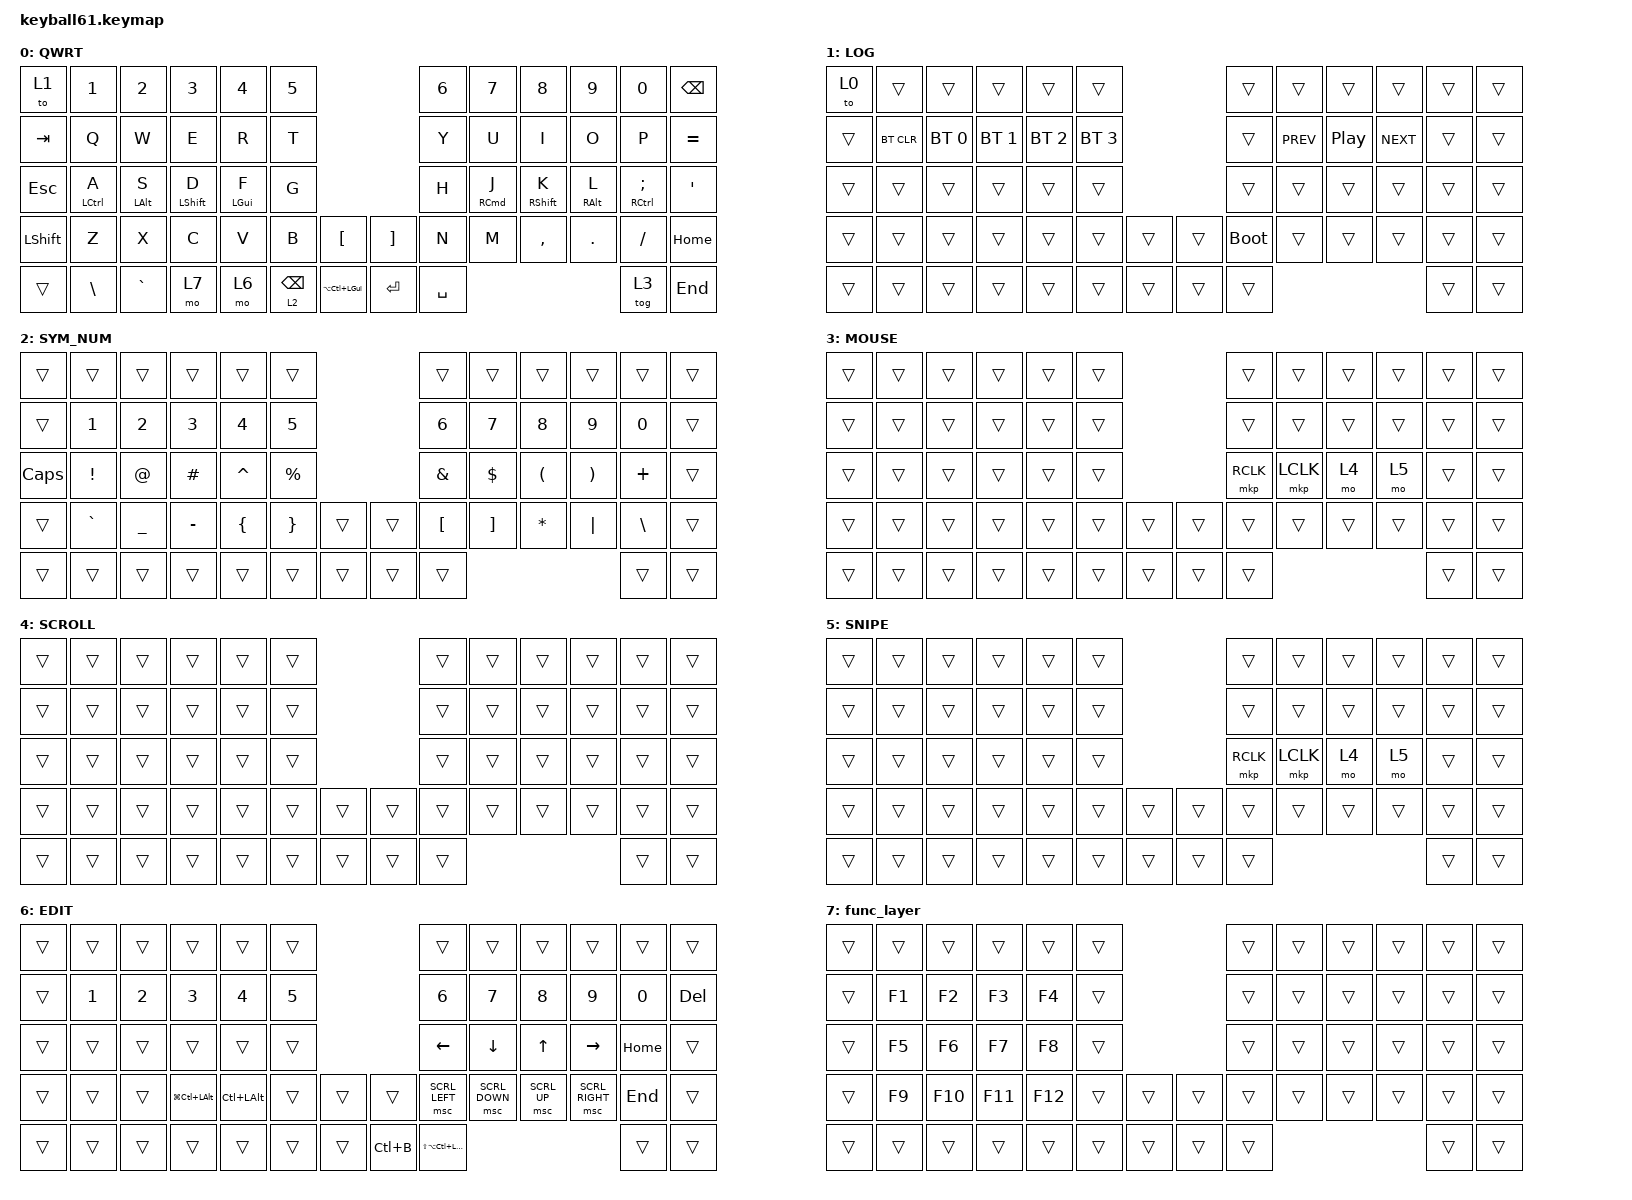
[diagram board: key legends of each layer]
#define DEFAULT 0
#define SYM     1
#define FUN     2
#define MOUSE   3 // Auto-Mouse Layer
#define SCROLL  4 // Motion Scroll Layer
#define SNIPE   5 // Snipe Mode Layer

#include <behaviors/mouse_keys.dtsi>
#include <dt-bindings/zmk/mouse.h>
#include <behaviors.dtsi>
#include <dt-bindings/zmk/bt.h>
#include <dt-bindings/zmk/keys.h>
#include <dt-bindings/zmk/pointing.h>

&lt {
    tapping-term-ms = <180>;
    flavor = "balanced";
    quick-tap-ms = <150>;
};

&mt {
    tapping-term-ms = <270>;
    flavor = "tap-unless-interrupted";
    quick-tap-ms = <150>;
};

&sl { release-after-ms = <2000>; };

/ {
    behaviors {
        right_mods: right_mods {
            compatible = "zmk,behavior-hold-tap";
            label = "RIGHT_MODS";
            bindings = <&kp>, <&kp>;

            #binding-cells = <2>;
            tapping-term-ms = <170>;
            quick-tap-ms = <150>;
            flavor = "balanced";
            require-prior-idle-ms = <180>;
        };

        left_mods: left_mods {
            compatible = "zmk,behavior-hold-tap";
            label = "LEFT_MODS";
            bindings = <&kp>, <&kp>;

            #binding-cells = <2>;
            tapping-term-ms = <170>;
            quick-tap-ms = <150>;
            flavor = "balanced";
            require-prior-idle-ms = <180>;
        };

        mt_cmd_left: mt_cmd_left {
            compatible = "zmk,behavior-hold-tap";
            label = "MT_CMD_LEFT";
            bindings = <&kp>, <&kp>;

            #binding-cells = <2>;
            tapping-term-ms = <160>;
            quick-tap-ms = <150>;
            flavor = "balanced";
        };

        mt_cmd_right: mt_cmd_right {
            compatible = "zmk,behavior-hold-tap";
            label = "MT_CMD_RIGHT";
            bindings = <&kp>, <&kp>;

            #binding-cells = <2>;
            tapping-term-ms = <185>;
            quick-tap-ms = <150>;
            flavor = "hold-preferred";
        };

        right_shift_mod: right_shift_mod {
            compatible = "zmk,behavior-hold-tap";
            label = "RIGHT_SHIFT_MOD";
            bindings = <&kp>, <&kp>;

            #binding-cells = <2>;
            tapping-term-ms = <170>;
            quick-tap-ms = <150>;
            flavor = "balanced";
        };

        left_shift_mod: left_shift_mod {
            compatible = "zmk,behavior-hold-tap";
            label = "NEW_BEHAVIOR";
            bindings = <&kp>, <&kp>;

            #binding-cells = <2>;
            tapping-term-ms = <170>;
            quick-tap-ms = <150>;
            flavor = "balanced";
        };

        aerospace_tap: aerospace_tap {
            compatible = "zmk,behavior-tap-dance";
            label = "AEROSPACE_TAP";
            #binding-cells = <0>;
            bindings = <&kp LA(LC(LGUI))>, <&kp LS(LA(LC(LGUI)))>;

            tapping-term-ms = <175>;
        };
    };

    combos {
        compatible = "zmk,combos";

        hyper {
            bindings = <&kp LC(LA(LG(LEFT_SHIFT)))>;
            key-positions = <56 57>;
            layers = <0>;
            timeout-ms = <100>;
        };
    };

    keymap {
        compatible = "zmk,keymap";

        DEFAULT_LAYER {
            label = "QWRT";
            bindings = <
&to 1           &kp N1                     &kp N2                 &kp N3                        &kp N4                   &kp N5                                                &kp N6     &kp NUMBER_7                   &kp NUMBER_8                    &kp NUMBER_9             &kp N0                               &kp BACKSPACE
&kp TAB         &kp Q                      &kp W                  &kp E                         &kp R                    &kp T                                                 &kp Y      &kp U                          &kp I                           &kp O                    &kp P                                &kp EQUAL
&kp ESCAPE      &left_mods LEFT_CONTROL A  &left_mods LEFT_ALT S  &left_shift_mod LEFT_SHIFT D  &mt_cmd_left LEFT_GUI F  &kp G                                                 &kp H      &mt_cmd_right RIGHT_COMMAND J  &right_shift_mod RIGHT_SHIFT K  &right_mods RIGHT_ALT L  &right_mods RIGHT_CONTROL SEMICOLON  &kp SQT
&kp LEFT_SHIFT  &kp Z                      &kp X                  &kp C                         &kp V                    &kp B            &kp LEFT_BRACKET  &kp RIGHT_BRACKET  &kp N      &kp M                          &kp COMMA                       &kp PERIOD               &kp SLASH                            &kp HOME
&trans          &kp BACKSLASH              &kp GRAVE              &mo 7                         &mo 6                    &lt 2 BACKSPACE  &kp LA(LC(LGUI))  &kp ENTER          &kp SPACE                                                                                          &tog 3                               &kp END
            >;
        };

        logistics_layer {
            label = "LOG";
            bindings = <
&to 0   &trans      &trans        &trans        &trans        &trans                        &trans       &trans      &trans            &trans      &trans  &trans
&trans  &bt BT_CLR  &bt BT_SEL 0  &bt BT_SEL 1  &bt BT_SEL 2  &bt BT_SEL 3                  &trans       &kp C_PREV  &kp C_PLAY_PAUSE  &kp C_NEXT  &trans  &trans
&trans  &trans      &trans        &trans        &trans        &trans                        &trans       &trans      &trans            &trans      &trans  &trans
&trans  &trans      &trans        &trans        &trans        &trans        &trans  &trans  &bootloader  &trans      &trans            &trans      &trans  &trans
&trans  &trans      &trans        &trans        &trans        &trans        &trans  &trans  &trans                                                 &trans  &trans
            >;
        };

        SYM_NUM_LAYER {
            bindings = <
&trans        &trans        &trans        &trans        &trans          &trans                           &trans            &trans             &trans                &trans                 &trans         &trans
&trans        &kp NUMBER_1  &kp NUMBER_2  &kp NUMBER_3  &kp NUMBER_4    &kp N5                           &kp NUMBER_6      &kp N7             &kp N8                &kp N9                 &kp N0         &trans
&kp CAPSLOCK  &kp EXCL      &kp AT_SIGN   &kp HASH      &kp CARET       &kp PERCENT                      &kp AMPS          &kp DOLLAR         &kp LEFT_PARENTHESIS  &kp RIGHT_PARENTHESIS  &kp PLUS       &trans
&trans        &kp GRAVE     &kp UNDER     &kp MINUS     &kp LEFT_BRACE  &kp RIGHT_BRACE  &trans  &trans  &kp LEFT_BRACKET  &kp RIGHT_BRACKET  &kp STAR              &kp PIPE               &kp BACKSLASH  &trans
&trans        &trans        &trans        &trans        &trans          &trans           &trans  &trans  &trans                                                                            &trans         &trans
            >;

            label = "SYM_NUM";
        };

        mouse_layer {
            label = "MOUSE";
            bindings = <
&trans  &trans  &trans  &trans  &trans  &trans                  &trans     &trans     &trans  &trans  &trans  &trans
&trans  &trans  &trans  &trans  &trans  &trans                  &trans     &trans     &trans  &trans  &trans  &trans
&trans  &trans  &trans  &trans  &trans  &trans                  &mkp RCLK  &mkp LCLK  &mo 4   &mo 5   &trans  &trans
&trans  &trans  &trans  &trans  &trans  &trans  &trans  &trans  &trans     &trans     &trans  &trans  &trans  &trans
&trans  &trans  &trans  &trans  &trans  &trans  &trans  &trans  &trans                                &trans  &trans
            >;
        };

        SCROLL_LAYER {
            bindings = <
&trans  &trans  &trans  &trans  &trans  &trans                  &trans  &trans  &trans  &trans  &trans  &trans
&trans  &trans  &trans  &trans  &trans  &trans                  &trans  &trans  &trans  &trans  &trans  &trans
&trans  &trans  &trans  &trans  &trans  &trans                  &trans  &trans  &trans  &trans  &trans  &trans
&trans  &trans  &trans  &trans  &trans  &trans  &trans  &trans  &trans  &trans  &trans  &trans  &trans  &trans
&trans  &trans  &trans  &trans  &trans  &trans  &trans  &trans  &trans                          &trans  &trans
            >;

            label = "SCROLL";
        };

        SNIPE_LAYER {
            bindings = <
&trans  &trans  &trans  &trans  &trans  &trans                  &trans     &trans     &trans  &trans  &trans  &trans
&trans  &trans  &trans  &trans  &trans  &trans                  &trans     &trans     &trans  &trans  &trans  &trans
&trans  &trans  &trans  &trans  &trans  &trans                  &mkp RCLK  &mkp LCLK  &mo 4   &mo 5   &trans  &trans
&trans  &trans  &trans  &trans  &trans  &trans  &trans  &trans  &trans     &trans     &trans  &trans  &trans  &trans
&trans  &trans  &trans  &trans  &trans  &trans  &trans  &trans  &trans                                &trans  &trans
            >;

            label = "SNIPE";
        };

        EDIT_LAYER {
            bindings = <
&trans  &trans        &trans        &trans                &trans            &trans                     &trans                &trans          &trans        &trans           &trans        &trans
&trans  &kp NUMBER_1  &kp NUMBER_2  &kp NUMBER_3          &kp NUMBER_4      &kp N5                     &kp NUMBER_6          &kp NUMBER_7    &kp NUMBER_8  &kp NUMBER_9     &kp NUMBER_0  &kp DELETE
&trans  &trans        &trans        &trans                &trans            &trans                     &kp LEFT              &kp DOWN        &kp UP        &kp RIGHT        &kp HOME      &trans
&trans  &trans        &trans        &kp LG(LC(LEFT_ALT))  &kp LC(LEFT_ALT)  &trans  &trans  &trans     &msc SCRL_LEFT        &msc SCRL_DOWN  &msc SCRL_UP  &msc SCRL_RIGHT  &kp END       &trans
&trans  &trans        &trans        &trans                &trans            &trans  &trans  &kp LC(B)  &kp LS(LA(LC(LGUI)))                                                 &trans        &trans
            >;

            label = "EDIT";
        };

        func_layer {
            bindings = <
&trans  &trans  &trans   &trans   &trans   &trans                  &trans  &trans  &trans  &trans  &trans  &trans
&trans  &kp F1  &kp F2   &kp F3   &kp F4   &trans                  &trans  &trans  &trans  &trans  &trans  &trans
&trans  &kp F5  &kp F6   &kp F7   &kp F8   &trans                  &trans  &trans  &trans  &trans  &trans  &trans
&trans  &kp F9  &kp F10  &kp F11  &kp F12  &trans  &trans  &trans  &trans  &trans  &trans  &trans  &trans  &trans
&trans  &trans  &trans   &trans   &trans   &trans  &trans  &trans  &trans                          &trans  &trans
            >;
        };
    };

    conditional_layers { compatible = "zmk,conditional-layers"; };
};
